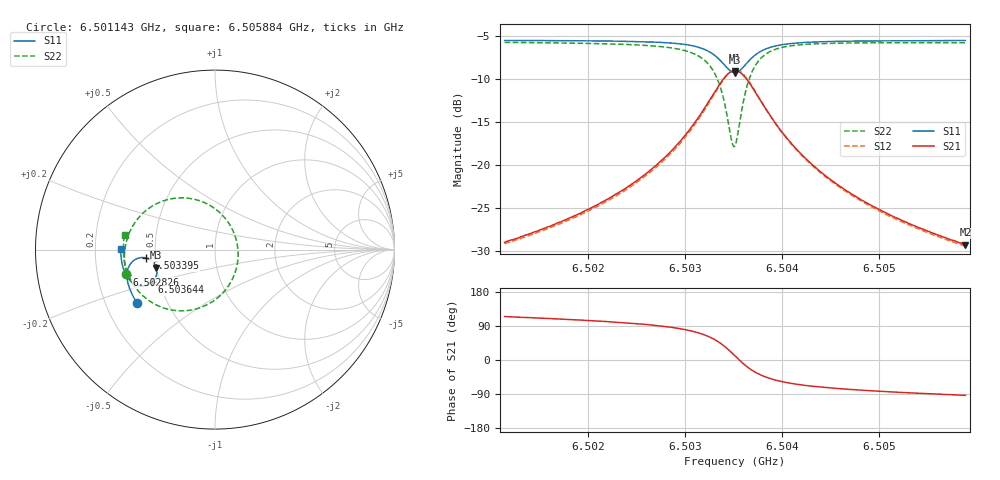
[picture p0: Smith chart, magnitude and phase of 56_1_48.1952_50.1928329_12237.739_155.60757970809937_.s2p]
#  HZ  S  RI  R  50.00
! Rohde & Schwarz Vector Network Analyzer
! Rohde-Schwarz,ZNB20-2Port,1311601062101988,3.16
! Created: UTC 3/20/2024, 11:38:34 AM
! freq[Hz]  re:S11  im:S11  re:S21  im:S21  re:S12  im:S12  re:S22  im:S22
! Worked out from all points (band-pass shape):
!   401 points, 6.501143 GHz to 6.505884 GHz, reference 50 ohm
!   highest |S21| = -9.07 dB at 6.503514 GHz (marker M1); lowest = -29.3 dB at 6.505884 GHz (marker M2)
!   |S21| within 3 dB of the highest: 6.503276 GHz to 6.50375 GHz (474 kHz wide, 0.00729 % of centre)
!   lowest |S11| = -9.3 dB at 6.503514 GHz (marker M3), VSWR 2.04, Z = 24.9 - j5.69 ohm
!   |S11| at or under -10 dB: nowhere
!   |S22| runs from -17.9 to -5.8 dB; largest |S21 - S12| = 0.012
!   S11 on the Smith chart (normalised r, x): 6.501143 GHz: 0.34, -0.28; 6.502826 GHz: 0.33, -0.13; 6.503395 GHz: 0.45, -0.05; 6.503644 GHz: 0.46, -0.20; 6.505884 GHz: 0.31, +0.00
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6.5011434e9  -0.4349 -0.2967  -0.0148 0.0323  -0.013 0.0323  -0.4948 -0.1354
6.5019374e9  -0.4678 -0.2361  -0.0137 0.0511  -0.0113 0.0505  -0.5045 -0.0475
6.5023877e9  -0.4827 -0.1947  -0.0104 0.0724  -0.00722 0.0711  -0.4989 0.0207
6.5027314e9  -0.49 -0.1546  -0.000478 0.1027  0.00314 0.1001  -0.4765 0.0948
6.5028262e9  -0.4902 -0.1412  0.00536 0.1153  0.00919 0.1121  -0.4638 0.1216
6.5030277e9  -0.4845 -0.1065  0.0303 0.1519  0.034 0.1471  -0.4118 0.1926
6.5031699e9  -0.4682 -0.076  0.072 0.1871  0.0745 0.1808  -0.3312 0.2526
6.5033002e9  -0.4306 -0.0488  0.1521 0.2131  0.1528 0.2066  -0.1852 0.2885
6.503395e9  -0.3823 -0.0468  0.2472 0.1951  0.2472 0.1904  -0.0207 0.2417
6.503478e9  -0.338 -0.0777  0.3278 0.1169  0.3302 0.1127  0.108 0.087
6.5035135e9  -0.3269 -0.1008  0.3456 0.0659  0.3493 0.0606  0.1285 -0.0087
6.5035372e9  -0.3238 -0.1178  0.3487 0.0299  0.353 0.0232  0.1252 -0.0747
6.5035728e9  -0.3262 -0.1428  0.3407 -0.0219  0.3444 -0.0312  0.0957 -0.1672
6.5036439e9  -0.3494 -0.1814  0.2916 -0.1005  0.2914 -0.1126  -0.0202 -0.2943
6.5037387e9  -0.3916 -0.2017  0.21 -0.1446  0.2049 -0.1554  -0.1862 -0.3412
6.5038098e9  -0.4186 -0.2017  0.1608 -0.1496  0.1538 -0.1579  -0.2784 -0.3278
6.5038928e9  -0.4423 -0.1943  0.119 -0.1434  0.1116 -0.1491  -0.3517 -0.2949
6.5040587e9  -0.4723 -0.1734  0.0696 -0.1216  0.0628 -0.1241  -0.4318 -0.2253
6.5043075e9  -0.4952 -0.1421  0.0357 -0.0938  0.0305 -0.0943  -0.4809 -0.1456
6.5046512e9  -0.5106 -0.1047  0.0162 -0.0694  0.0126 -0.0691  -0.5036 -0.0709
6.5051015e9  -0.5204 -0.0621  0.00546 -0.0511  0.00301 -0.0503  -0.5107 -0.00296
6.5058837e9  -0.5261 0.00508  -0.00199 -0.0344  -0.0033 -0.0336  -0.5039 0.0834
